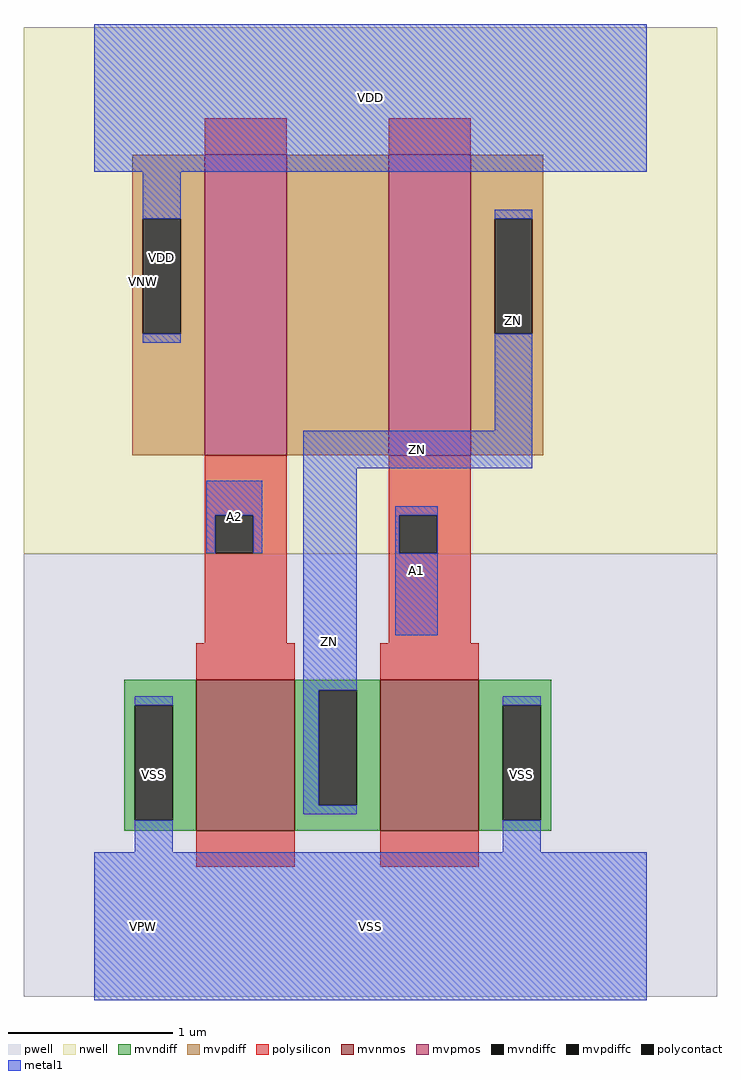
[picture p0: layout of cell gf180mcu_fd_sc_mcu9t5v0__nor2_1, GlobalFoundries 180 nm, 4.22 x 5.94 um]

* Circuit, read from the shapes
.subckt gf180mcu_fd_sc_mcu9t5v0__nor2_1 A1 A2 ZN VDD VNW VPW VSS
XM1 ZN A2 VSS VPW nfet_06v0 w=0.92u l=0.6u
XM2 VSS A1 ZN VPW nfet_06v0 w=0.92u l=0.6u
XM3 n1 A2 VDD VNW pfet_06v0 w=1.83u l=0.5u
XM4 ZN A1 n1 VNW pfet_06v0 w=1.83u l=0.5u
.ends

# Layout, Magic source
magic
tech gf180mcuD
magscale 1 10
<< nwell >>
rect -86 453 758 1094
<< pwell >>
rect -86 -86 758 453
<< mvnmos >>
rect 124 116 244 300
rect 348 116 468 300
<< mvpmos >>
rect 134 573 234 939
rect 358 573 458 939
<< mvndiff >>
rect 36 269 124 300
rect 36 129 49 269
rect 95 129 124 269
rect 36 116 124 129
rect 244 287 348 300
rect 244 147 273 287
rect 319 147 348 287
rect 244 116 348 147
rect 468 269 556 300
rect 468 129 497 269
rect 543 129 556 269
rect 468 116 556 129
<< mvpdiff >>
rect 46 861 134 939
rect 46 721 59 861
rect 105 721 134 861
rect 46 573 134 721
rect 234 573 358 939
rect 458 861 546 939
rect 458 721 487 861
rect 533 721 546 861
rect 458 573 546 721
<< mvndiffc >>
rect 49 129 95 269
rect 273 147 319 287
rect 497 129 543 269
<< mvpdiffc >>
rect 59 721 105 861
rect 487 721 533 861
<< polysilicon >>
rect 134 939 234 983
rect 358 939 458 983
rect 134 500 234 573
rect 134 454 147 500
rect 193 454 234 500
rect 134 344 234 454
rect 358 500 458 573
rect 358 454 371 500
rect 417 454 458 500
rect 358 344 458 454
rect 124 300 244 344
rect 348 300 468 344
rect 124 72 244 116
rect 348 72 468 116
<< polycontact >>
rect 147 454 193 500
rect 371 454 417 500
<< metal1 >>
rect 0 918 672 1098
rect 59 861 105 918
rect 59 710 105 721
rect 487 861 533 872
rect 487 603 533 721
rect 254 557 533 603
rect 136 500 204 542
rect 136 454 147 500
rect 193 454 204 500
rect 254 287 319 557
rect 366 500 418 511
rect 366 454 371 500
rect 417 454 418 500
rect 366 354 418 454
rect 49 269 95 280
rect 254 147 273 287
rect 254 136 319 147
rect 497 269 543 280
rect 49 90 95 129
rect 497 90 543 129
rect 0 -90 672 90
<< labels >>
flabel metal1 s 366 354 418 511 0 FreeSans 200 0 0 0 A1
port 1 nsew default input
flabel metal1 s 136 454 204 542 0 FreeSans 200 0 0 0 A2
port 2 nsew default input
flabel metal1 s 0 918 672 1098 0 FreeSans 200 0 0 0 VDD
port 4 nsew power bidirectional abutment
flabel metal1 s 497 90 543 280 0 FreeSans 200 0 0 0 VSS
port 7 nsew ground bidirectional abutment
flabel metal1 s 487 603 533 872 0 FreeSans 200 0 0 0 ZN
port 3 nsew default output
flabel nwell s 10 734 110 834 0 FreeSans 400 0 0 0 VNW
port 5 nsew power bidirectional
flabel pwell s 10 -50 110 50 0 FreeSans 400 0 0 0 VPW
port 6 nsew ground bidirectional
rlabel metal1 s 254 557 533 603 1 ZN
port 3 nsew default output
rlabel metal1 s 254 136 319 557 1 ZN
port 3 nsew default output
rlabel metal1 s 59 710 105 918 1 VDD
port 4 nsew power bidirectional abutment
rlabel metal1 s 49 90 95 280 1 VSS
port 7 nsew ground bidirectional abutment
rlabel metal1 s 0 -90 672 90 1 VSS
port 7 nsew ground bidirectional abutment
<< properties >>
string FIXED_BBOX 0 0 672 1008
string GDS_END 77150
string GDS_FILE $PDKPATH/libs.ref/gf180mcu_fd_sc_mcu9t5v0/gds/gf180mcu_fd_sc_mcu9t5v0.gds
string GDS_START 74394
string LEFclass core
string LEFsite GF018hv5v_green_sc9
string LEFsymmetry X Y
<< end >>
